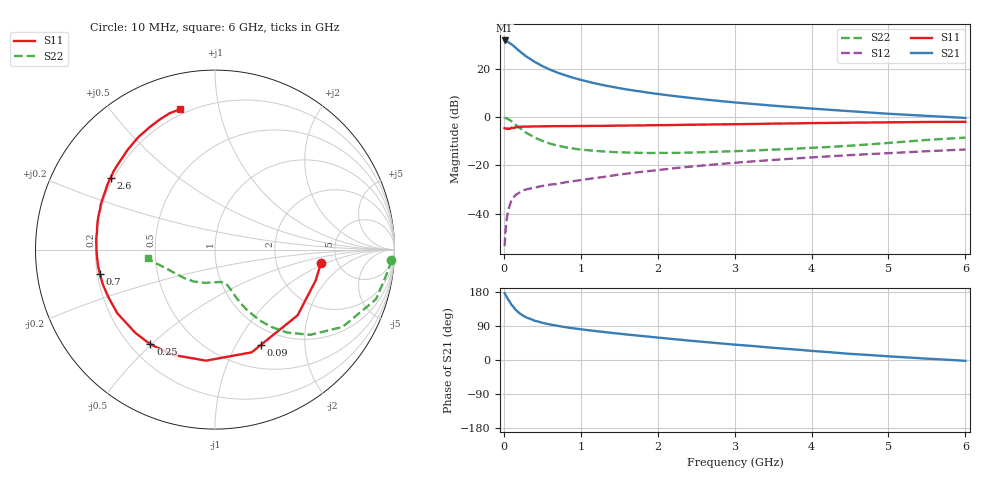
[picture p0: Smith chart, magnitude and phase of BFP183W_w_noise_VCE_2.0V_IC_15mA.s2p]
! Infineon Technologies  Discrete & RF Semiconductors
! BFP183W
! VCE =  2.0 V,  IC =  15 mA
! Common Emitter S-Parameters:  Jan 2017
# GHz  S  MA  R  50
!  f  S11  S21  S12  S22
! GHz  MAG  ANG  MAG  ANG  MAG  ANG  MAG  ANG
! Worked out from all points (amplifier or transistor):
!   77 points, 10 MHz to 6 GHz, reference 50 ohm
!   highest |S21| = 31.9 dB at 10 MHz (marker M1)
!   |S21| within 3 dB of that: start of sweep to 152.8 MHz
!   unconditionally stable (mu >= 1): 1.241 GHz to 3.909 GHz
!   at 130 MHz: K = 0.20, MSG = 31.3 dB, |S12| = -33.2 dB
!   at 2.2 GHz: K = 1.08, MAG = 13.4 dB, |S12| = -21.2 dB
!   at 6 GHz: K = 0.89, MSG = 6.5 dB, |S12| = -13.4 dB
!   lowest NFmin = 1.05 dB at 450 MHz
!   S11 on the Smith chart (normalised r, x): 10 MHz: 3.72, -0.87; 90 MHz: 0.78, -1.27; 250 MHz: 0.28, -0.50; 700 MHz: 0.21, -0.10; 2.6 GHz: 0.19, +0.30; 6 GHz: 0.17, +0.77
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0.01  0.5952 -7.3  39.55 177.0  0.0021 82.6  0.9846 -3.5
0.02  0.5867 -17.1  38.98 172.4  0.004 88.7  0.9717 -6.9
0.05  0.5881 -38.5  37.41 161.5  0.0104 74.5  0.9389 -17.1
0.09  0.5894 -64.3  33.66 149.0  0.0172 64.2  0.8479 -28.2
0.1  0.6078 -70.4  33 145.5  0.0189 62.8  0.8307 -31.3
0.15  0.6207 -94.6  28.26 133.3  0.0242 53.3  0.7122 -41.8
0.2  0.6314 -111.6  24.05 124.0  0.0271 48.4  0.6125 -49.0
0.25  0.6391 -124.3  20.7 116.9  0.0302 44.1  0.5314 -54.0
0.3  0.6419 -133.8  17.98 111.6  0.032 41.9  0.4677 -57.7
0.4  0.6497 -147.0  14.2 103.7  0.0346 40.6  0.3794 -62.2
0.5  0.6505 -156.0  11.61 98.2  0.0375 40.5  0.3235 -64.7
0.6  0.6542 -162.7  9.815 93.7  0.04 41.4  0.2845 -66.5
0.7  0.6559 -168.0  8.463 90.1  0.0414 43.8  0.2568 -67.6
0.9  0.6585 -176.4  6.637 83.7  0.0472 45.9  0.2248 -69.6
1.1  0.6618 177.3  5.473 78.6  0.0525 48.9  0.2066 -71.3
1.5  0.6717 167.0  4.038 69.5  0.0646 51.8  0.1872 -76.7
2.1  0.6887 154.4  2.92 57.3  0.0834 53.4  0.1818 -88.9
2.6  0.7063 145.4  2.358 47.7  0.1002 52.8  0.1886 -101.7
3.1  0.7223 137.3  1.979 39.0  0.1168 51.4  0.2002 -114.3
4.1  0.7608 122.9  1.484 22.6  0.1502 47.0  0.2359 -138.8
5.1  0.7896 112.1  1.161 8.5  0.1834 41.5  0.3019 -161.1
6  0.8061 104.1  0.969 -2.2  0.2147 35.7  0.3781 -172.7
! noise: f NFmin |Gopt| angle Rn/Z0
0.45  1.05  0.15  158  0.1
0.9  1.09  0.21  163  0.09
1.9  1.56  0.39  -168  0.08
2.4  1.8  0.44  -161  0.11
